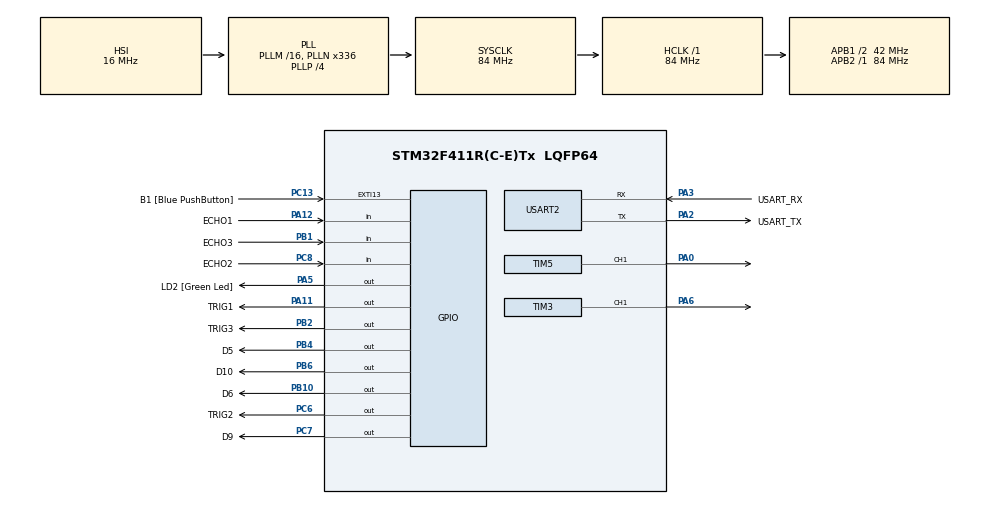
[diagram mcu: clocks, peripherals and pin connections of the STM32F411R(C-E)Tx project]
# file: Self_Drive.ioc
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Mcu.Family=STM32F4
Mcu.Name=STM32F411R(C-E)Tx
Mcu.Package=LQFP64
NVIC.PriorityGroup=NVIC_PRIORITYGROUP_0
PA0-WKUP.Signal=S_TIM5_CH1
PA11.GPIO_Label=TRIG1
PA11.Signal=GPIO_Output
PA12.GPIO_Label=ECHO1
PA12.Signal=GPIO_Input
PA13.GPIO_Label=TMS
PA13.Mode=Serial_Wire
PA13.Signal=SYS_JTMS-SWDIO
PA14.GPIO_Label=TCK
PA14.Mode=Serial_Wire
PA14.Signal=SYS_JTCK-SWCLK
PA2.GPIO_Label=USART_TX
PA2.Mode=Asynchronous
PA2.Signal=USART2_TX
PA3.GPIO_Label=USART_RX
PA3.Mode=Asynchronous
PA3.Signal=USART2_RX
PA5.GPIO_Label=LD2 [Green Led]
PA5.Signal=GPIO_Output
PA6.Signal=S_TIM3_CH1
PB1.GPIO_Label=ECHO3
PB1.Signal=GPIO_Input
PB10.GPIO_Label=D6
PB10.Signal=GPIO_Output
PB2.GPIO_Label=TRIG3
PB2.Signal=GPIO_Output
PB3.GPIO_Label=SWO
PB3.Signal=SYS_JTDO-SWO
PB4.GPIO_Label=D5
PB4.Signal=GPIO_Output
PB6.GPIO_Label=D10
PB6.Signal=GPIO_Output
PC13-ANTI_TAMP.GPIO_Label=B1 [Blue PushButton]
PC13-ANTI_TAMP.GPIO_ModeDefaultEXTI=GPIO_MODE_IT_FALLING
PC13-ANTI_TAMP.Signal=GPXTI13
PC14-OSC32_IN.Mode=LSE-External-Oscillator
PC14-OSC32_IN.Signal=RCC_OSC32_IN
PC15-OSC32_OUT.Mode=LSE-External-Oscillator
PC15-OSC32_OUT.Signal=RCC_OSC32_OUT
PC6.GPIO_Label=TRIG2
PC6.Signal=GPIO_Output
PC7.GPIO_Label=D9
PC7.Signal=GPIO_Output
PC8.GPIO_Label=ECHO2
PC8.Signal=GPIO_Input
PH0\ -\ OSC_IN.Mode=HSE-External-Clock-Source
PH0\ -\ OSC_IN.Signal=RCC_OSC_IN
PH1\ -\ OSC_OUT.Mode=HSE-External-Clock-Source
PH1\ -\ OSC_OUT.Signal=RCC_OSC_OUT
ProjectManager.HeapSize=0x200
ProjectManager.StackSize=0x400
ProjectManager.TargetToolchain=STM32CubeIDE
RCC.48MHZClocksFreq_Value=84000000
RCC.AHBFreq_Value=84000000
RCC.APB1CLKDivider=RCC_HCLK_DIV2
RCC.APB1Freq_Value=42000000
RCC.APB1TimFreq_Value=84000000
RCC.APB2Freq_Value=84000000
RCC.APB2TimFreq_Value=84000000
RCC.CortexFreq_Value=84000000
RCC.FLatency-AdvancedSettings=FLASH_LATENCY_2
RCC.HCLKFreq_Value=84000000
RCC.HSE_VALUE=8000000
RCC.HSI_VALUE=16000000
RCC.PLLN=336
RCC.PLLP=RCC_PLLP_DIV4
RCC.SYSCLKFreq_VALUE=84000000
RCC.SYSCLKSource=RCC_SYSCLKSOURCE_PLLCLK
RCC.VCOOutputFreq_Value=336000000
SH.S_TIM3_CH1.0=TIM3_CH1,PWM Generation1 CH1
SH.S_TIM5_CH1.0=TIM5_CH1,PWM Generation1 CH1
TIM2.Period=80000-1
TIM2.Prescaler=84-1
TIM3.Channel-PWM\ Generation1\ CH1=TIM_CHANNEL_1
TIM3.Period=65535-1
TIM3.Prescaler=84-1
TIM5.Channel-PWM\ Generation1\ CH1=TIM_CHANNEL_1
TIM5.Period=65535-1
TIM5.Prescaler=84-1
USART2.VirtualMode=VM_ASYNC
VP_TIM2_VS_ClockSourceINT.Mode=Internal
VP_TIM3_VS_ClockSourceINT.Mode=Internal
VP_TIM5_VS_ClockSourceINT.Mode=Internal
board=NUCLEO-F411RE

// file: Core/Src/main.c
/* USER CODE BEGIN Header */
/**
  ******************************************************************************
  * @file           : main.c
  * @brief          : Main program body
  ******************************************************************************
  * @attention
  *
  * Copyright (c) 2024 STMicroelectronics.
  * All rights reserved.
  *
  * This software is licensed under terms that can be found in the LICENSE file
  * in the root directory of this software component.
  * If no LICENSE file comes with this software, it is provided AS-IS.
  *
  ******************************************************************************
  */
/* USER CODE END Header */
#include "main.h"

/* USER CODE BEGIN Includes */
#include "/Users/parkjunho/GitClone/Harman/ARM Architecture/Common/myLib.h"
/* USER CODE END Includes */

TIM_HandleTypeDef htim2;
TIM_HandleTypeDef htim3;
TIM_HandleTypeDef htim5;

UART_HandleTypeDef huart2;

void SystemClock_Config(void);
static void MX_GPIO_Init(void);
static void MX_USART2_UART_Init(void);
static void MX_TIM3_Init(void);
static void MX_TIM5_Init(void);
static void MX_TIM2_Init(void);

int main(void)
{

  /* MCU Configuration--------------------------------------------------------*/

  /* Reset of all peripherals, Initializes the Flash interface and the Systick. */
  HAL_Init();

  /* Configure the system clock */
  SystemClock_Config();

  /* Initialize all configured peripherals */
  MX_GPIO_Init();
  MX_USART2_UART_Init();
  MX_TIM3_Init();
  MX_TIM5_Init();
  MX_TIM2_Init();
  /* USER CODE BEGIN 2 */
  ProgramStart();
  HAL_TIM_Base_Start(&htim2);
  HAL_TIM_PWM_Start(&htim3, TIM_CHANNEL_1);
  HAL_TIM_PWM_Start(&htim5, TIM_CHANNEL_1);

  /* USER CODE END 2 */

  /* Infinite loop */
  /* USER CODE BEGIN WHILE */
  // forward
  HAL_GPIO_WritePin(D5_GPIO_Port, D5_Pin, 0);
  HAL_GPIO_WritePin(D6_GPIO_Port, D6_Pin, 1);
  HAL_GPIO_WritePin(D9_GPIO_Port, D9_Pin, 0);
  HAL_GPIO_WritePin(D10_GPIO_Port, D10_Pin, 1);

  // backward
  /*
  HAL_GPIO_WritePin(D5_GPIO_Port, D5_Pin, 1);
  HAL_GPIO_WritePin(D6_GPIO_Port, D6_Pin, 0);
  HAL_GPIO_WritePin(D9_GPIO_Port, D9_Pin, 1);
  HAL_GPIO_WritePin(D10_GPIO_Port, D10_Pin, 0);
   */
  int MaxSpeed = 15000;
  int current_speed = 0;
  while (1)
  {

     int num1 = usDist1() * 100;
     HAL_Delay(3);
     int num2 = usDist2() * 100;
     HAL_Delay(3);
     int num3 = usDist3() * 100;

     // printf("num1 = %d    num2 = %d      num3 = %d\r\n", num1, num2, num3);
     printf("num1 = %d\r\n", num1);

     htim5.Instance->CCR1 = MaxSpeed;
     htim3.Instance->CCR1 = MaxSpeed;

    /* USER CODE END WHILE */

    /* USER CODE BEGIN 3 */

    current_speed = MaxSpeed;

    if(num1 >= 15)
    {
      HAL_GPIO_WritePin(D5_GPIO_Port, D5_Pin, 0);
      HAL_GPIO_WritePin(D6_GPIO_Port, D6_Pin, 1);
      HAL_GPIO_WritePin(D9_GPIO_Port, D9_Pin, 0);
      HAL_GPIO_WritePin(D10_GPIO_Port, D10_Pin, 1);

      TIM3->CCR1 = MaxSpeed;
      TIM5->CCR1 = MaxSpeed;

      if(num2 > 15 && num3 > 15) // go forward
      {
        TIM3->CCR1 = MaxSpeed;
        TIM5->CCR1 = MaxSpeed;
      }

      else if((num3 > 15 && num2 <= 15)) // cornering
      {
        TIM3->CCR1 = 0;
        TIM5->CCR1 = current_speed;
      }
      else if((num2 > 15 && num3 <= 15)) // cornering
      {
        TIM3->CCR1 = current_speed;
        TIM5->CCR1 = 0;
      }
    }
    else
    {
      HAL_GPIO_WritePin(D5_GPIO_Port, D5_Pin, 1);
      HAL_GPIO_WritePin(D6_GPIO_Port, D6_Pin, 0);
      HAL_GPIO_WritePin(D9_GPIO_Port, D9_Pin, 1);
      HAL_GPIO_WritePin(D10_GPIO_Port, D10_Pin, 0);
      TIM3->CCR1 = MaxSpeed;
      TIM5->CCR1 = MaxSpeed;
    }

       /*
       while(num2 > 20 || num3 > 20)
       {

        HAL_GPIO_WritePin(D5_GPIO_Port, D5_Pin, 1);
        HAL_GPIO_WritePin(D6_GPIO_Port, D6_Pin, 0);
        HAL_GPIO_WritePin(D9_GPIO_Port, D9_Pin, 1);
        HAL_GPIO_WritePin(D10_GPIO_Port, D10_Pin, 0);
        TIM3->CCR1 = 500;
        TIM1->CCR1 = 500;

        if(num2 > 20 && num3 > 20) // go forward
       {
           HAL_GPIO_WritePin(D5_GPIO_Port, D5_Pin, 0);
           HAL_GPIO_WritePin(D6_GPIO_Port, D6_Pin, 1);
           HAL_GPIO_WritePin(D9_GPIO_Port, D9_Pin, 0);
           HAL_GPIO_WritePin(D10_GPIO_Port, D10_Pin, 1);
          TIM1->CCR1 = MaxSpeed;
          TIM3->CCR1 = MaxSpeed;
       }

       else if(num3 > 20 && num2 <= 20) // cornering
       {
          HAL_GPIO_WritePin(D5_GPIO_Port, D5_Pin, 0);
          HAL_GPIO_WritePin(D6_GPIO_Port, D6_Pin, 1);
          HAL_GPIO_WritePin(D9_GPIO_Port, D9_Pin, 0);
          HAL_GPIO_WritePin(D10_GPIO_Port, D10_Pin, 1);
          TIM3->CCR1 = 0;
          TIM1->CCR1 = current_speed;
       }
       else if(num2 > 20 && num3 <= 20) // cornering
       {
          HAL_GPIO_WritePin(D5_GPIO_Port, D5_Pin, 0);
          HAL_GPIO_WritePin(D6_GPIO_Port, D6_Pin, 1);
          HAL_GPIO_WritePin(D9_GPIO_Port, D9_Pin, 0);
          HAL_GPIO_WritePin(D10_GPIO_Port, D10_Pin, 1);
          TIM3->CCR1 = current_speed;
          TIM1->CCR1 = 0;
       }
       }
    }
*/

   // printf("Compare (TIM1): %4d | TEMP: %5d\r\n ", (int)TIM1->CCR1, temp_speed);
    //printf("Compare (TIM3): %4d | TEMP: %5d\r\n ", (int)TIM3->CCR1, temp_speed);

    // 일정 시간 동안 루프를 지연시킴

  }
  /* USER CODE END 3 */
}

void SystemClock_Config(void)
{
  RCC_OscInitTypeDef RCC_OscInitStruct = {0};
  RCC_ClkInitTypeDef RCC_ClkInitStruct = {0};

  /** Configure the main internal regulator output voltage
  */
  __HAL_RCC_PWR_CLK_ENABLE();
  __HAL_PWR_VOLTAGESCALING_CONFIG(PWR_REGULATOR_VOLTAGE_SCALE1);

  /** Initializes the RCC Oscillators according to the specified parameters
  * in the RCC_OscInitTypeDef structure.
  */
  RCC_OscInitStruct.OscillatorType = RCC_OSCILLATORTYPE_HSI;
  RCC_OscInitStruct.HSIState = RCC_HSI_ON;
  RCC_OscInitStruct.HSICalibrationValue = RCC_HSICALIBRATION_DEFAULT;
  RCC_OscInitStruct.PLL.PLLState = RCC_PLL_ON;
  RCC_OscInitStruct.PLL.PLLSource = RCC_PLLSOURCE_HSI;
  RCC_OscInitStruct.PLL.PLLM = 16;
  RCC_OscInitStruct.PLL.PLLN = 336;
  RCC_OscInitStruct.PLL.PLLP = RCC_PLLP_DIV4;
  RCC_OscInitStruct.PLL.PLLQ = 4;
  if (HAL_RCC_OscConfig(&RCC_OscInitStruct) != HAL_OK)
  {
    Error_Handler();
  }

  /** Initializes the CPU, AHB and APB buses clocks
  */
  RCC_ClkInitStruct.ClockType = RCC_CLOCKTYPE_HCLK|RCC_CLOCKTYPE_SYSCLK
                              |RCC_CLOCKTYPE_PCLK1|RCC_CLOCKTYPE_PCLK2;
  RCC_ClkInitStruct.SYSCLKSource = RCC_SYSCLKSOURCE_PLLCLK;
  RCC_ClkInitStruct.AHBCLKDivider = RCC_SYSCLK_DIV1;
  RCC_ClkInitStruct.APB1CLKDivider = RCC_HCLK_DIV2;
  RCC_ClkInitStruct.APB2CLKDivider = RCC_HCLK_DIV1;

  if (HAL_RCC_ClockConfig(&RCC_ClkInitStruct, FLASH_LATENCY_2) != HAL_OK)
  {
    Error_Handler();
  }
}

static void MX_TIM2_Init(void)
{

  TIM_ClockConfigTypeDef sClockSourceConfig = {0};
  TIM_MasterConfigTypeDef sMasterConfig = {0};

  htim2.Instance = TIM2;
  htim2.Init.Prescaler = 84-1;
  htim2.Init.CounterMode = TIM_COUNTERMODE_UP;
  htim2.Init.Period = 80000-1;
  htim2.Init.ClockDivision = TIM_CLOCKDIVISION_DIV1;
  htim2.Init.AutoReloadPreload = TIM_AUTORELOAD_PRELOAD_DISABLE;
  if (HAL_TIM_Base_Init(&htim2) != HAL_OK)
  {
    Error_Handler();
  }
  sClockSourceConfig.ClockSource = TIM_CLOCKSOURCE_INTERNAL;
  if (HAL_TIM_ConfigClockSource(&htim2, &sClockSourceConfig) != HAL_OK)
  {
    Error_Handler();
  }
  sMasterConfig.MasterOutputTrigger = TIM_TRGO_RESET;
  sMasterConfig.MasterSlaveMode = TIM_MASTERSLAVEMODE_DISABLE;
  if (HAL_TIMEx_MasterConfigSynchronization(&htim2, &sMasterConfig) != HAL_OK)
  {
    Error_Handler();
  }

}

static void MX_TIM3_Init(void)
{

  TIM_ClockConfigTypeDef sClockSourceConfig = {0};
  TIM_MasterConfigTypeDef sMasterConfig = {0};
  TIM_OC_InitTypeDef sConfigOC = {0};

  htim3.Instance = TIM3;
  htim3.Init.Prescaler = 84-1;
  htim3.Init.CounterMode = TIM_COUNTERMODE_UP;
  htim3.Init.Period = 65535-1;
  htim3.Init.ClockDivision = TIM_CLOCKDIVISION_DIV1;
  htim3.Init.AutoReloadPreload = TIM_AUTORELOAD_PRELOAD_DISABLE;
  if (HAL_TIM_Base_Init(&htim3) != HAL_OK)
  {
    Error_Handler();
  }
  sClockSourceConfig.ClockSource = TIM_CLOCKSOURCE_INTERNAL;
  if (HAL_TIM_ConfigClockSource(&htim3, &sClockSourceConfig) != HAL_OK)
  {
    Error_Handler();
  }
  if (HAL_TIM_PWM_Init(&htim3) != HAL_OK)
  {
    Error_Handler();
  }
  sMasterConfig.MasterOutputTrigger = TIM_TRGO_RESET;
  sMasterConfig.MasterSlaveMode = TIM_MASTERSLAVEMODE_DISABLE;
  if (HAL_TIMEx_MasterConfigSynchronization(&htim3, &sMasterConfig) != HAL_OK)
  {
    Error_Handler();
  }
  sConfigOC.OCMode = TIM_OCMODE_PWM1;
  sConfigOC.Pulse = 0;
  sConfigOC.OCPolarity = TIM_OCPOLARITY_HIGH;
  sConfigOC.OCFastMode = TIM_OCFAST_DISABLE;
  if (HAL_TIM_PWM_ConfigChannel(&htim3, &sConfigOC, TIM_CHANNEL_1) != HAL_OK)
  {
    Error_Handler();
  }
  HAL_TIM_MspPostInit(&htim3);

}

static void MX_TIM5_Init(void)
{

  TIM_ClockConfigTypeDef sClockSourceConfig = {0};
  TIM_MasterConfigTypeDef sMasterConfig = {0};
  TIM_OC_InitTypeDef sConfigOC = {0};

  htim5.Instance = TIM5;
  htim5.Init.Prescaler = 84-1;
  htim5.Init.CounterMode = TIM_COUNTERMODE_UP;
  htim5.Init.Period = 65535-1;
  htim5.Init.ClockDivision = TIM_CLOCKDIVISION_DIV1;
  htim5.Init.AutoReloadPreload = TIM_AUTORELOAD_PRELOAD_DISABLE;
  if (HAL_TIM_Base_Init(&htim5) != HAL_OK)
  {
    Error_Handler();
  }
  sClockSourceConfig.ClockSource = TIM_CLOCKSOURCE_INTERNAL;
  if (HAL_TIM_ConfigClockSource(&htim5, &sClockSourceConfig) != HAL_OK)
  {
    Error_Handler();
  }
  if (HAL_TIM_PWM_Init(&htim5) != HAL_OK)
  {
    Error_Handler();
  }
  sMasterConfig.MasterOutputTrigger = TIM_TRGO_RESET;
  sMasterConfig.MasterSlaveMode = TIM_MASTERSLAVEMODE_DISABLE;
  if (HAL_TIMEx_MasterConfigSynchronization(&htim5, &sMasterConfig) != HAL_OK)
  {
    Error_Handler();
  }
  sConfigOC.OCMode = TIM_OCMODE_PWM1;
  sConfigOC.Pulse = 0;
  sConfigOC.OCPolarity = TIM_OCPOLARITY_HIGH;
  sConfigOC.OCFastMode = TIM_OCFAST_DISABLE;
  if (HAL_TIM_PWM_ConfigChannel(&htim5, &sConfigOC, TIM_CHANNEL_1) != HAL_OK)
  {
    Error_Handler();
  }
  HAL_TIM_MspPostInit(&htim5);

}

static void MX_USART2_UART_Init(void)
{

  huart2.Instance = USART2;
  huart2.Init.BaudRate = 115200;
  huart2.Init.WordLength = UART_WORDLENGTH_8B;
  huart2.Init.StopBits = UART_STOPBITS_1;
  huart2.Init.Parity = UART_PARITY_NONE;
  huart2.Init.Mode = UART_MODE_TX_RX;
  huart2.Init.HwFlowCtl = UART_HWCONTROL_NONE;
  huart2.Init.OverSampling = UART_OVERSAMPLING_16;
  if (HAL_UART_Init(&huart2) != HAL_OK)
  {
    Error_Handler();
  }

}

static void MX_GPIO_Init(void)
{
  GPIO_InitTypeDef GPIO_InitStruct = {0};

  /* GPIO Ports Clock Enable */
  __HAL_RCC_GPIOC_CLK_ENABLE();
  __HAL_RCC_GPIOH_CLK_ENABLE();
  __HAL_RCC_GPIOA_CLK_ENABLE();
  __HAL_RCC_GPIOB_CLK_ENABLE();

  /*Configure GPIO pin Output Level */
  HAL_GPIO_WritePin(GPIOA, LD2_Pin|TRIG1_Pin, GPIO_PIN_RESET);

  /*Configure GPIO pin Output Level */
  HAL_GPIO_WritePin(GPIOB, TRIG3_Pin|D6_Pin|D5_Pin|D10_Pin, GPIO_PIN_RESET);

  /*Configure GPIO pin Output Level */
  HAL_GPIO_WritePin(GPIOC, TRIG2_Pin|D9_Pin, GPIO_PIN_RESET);

  /*Configure GPIO pin : B1_Pin */
  GPIO_InitStruct.Pin = B1_Pin;
  GPIO_InitStruct.Mode = GPIO_MODE_IT_FALLING;
  GPIO_InitStruct.Pull = GPIO_NOPULL;
  HAL_GPIO_Init(B1_GPIO_Port, &GPIO_InitStruct);

  /*Configure GPIO pins : LD2_Pin TRIG1_Pin */
  GPIO_InitStruct.Pin = LD2_Pin|TRIG1_Pin;
  GPIO_InitStruct.Mode = GPIO_MODE_OUTPUT_PP;
  GPIO_InitStruct.Pull = GPIO_NOPULL;
  GPIO_InitStruct.Speed = GPIO_SPEED_FREQ_LOW;
  HAL_GPIO_Init(GPIOA, &GPIO_InitStruct);

  /*Configure GPIO pin : ECHO3_Pin */
  GPIO_InitStruct.Pin = ECHO3_Pin;
  GPIO_InitStruct.Mode = GPIO_MODE_INPUT;
  GPIO_InitStruct.Pull = GPIO_NOPULL;
  HAL_GPIO_Init(ECHO3_GPIO_Port, &GPIO_InitStruct);

  /*Configure GPIO pins : TRIG3_Pin D6_Pin D5_Pin D10_Pin */
  GPIO_InitStruct.Pin = TRIG3_Pin|D6_Pin|D5_Pin|D10_Pin;
  GPIO_InitStruct.Mode = GPIO_MODE_OUTPUT_PP;
  GPIO_InitStruct.Pull = GPIO_NOPULL;
  GPIO_InitStruct.Speed = GPIO_SPEED_FREQ_LOW;
  HAL_GPIO_Init(GPIOB, &GPIO_InitStruct);

  /*Configure GPIO pins : TRIG2_Pin D9_Pin */
  GPIO_InitStruct.Pin = TRIG2_Pin|D9_Pin;
  GPIO_InitStruct.Mode = GPIO_MODE_OUTPUT_PP;
  GPIO_InitStruct.Pull = GPIO_NOPULL;
  GPIO_InitStruct.Speed = GPIO_SPEED_FREQ_LOW;
  HAL_GPIO_Init(GPIOC, &GPIO_InitStruct);

  /*Configure GPIO pin : ECHO2_Pin */
  GPIO_InitStruct.Pin = ECHO2_Pin;
  GPIO_InitStruct.Mode = GPIO_MODE_INPUT;
  GPIO_InitStruct.Pull = GPIO_NOPULL;
  HAL_GPIO_Init(ECHO2_GPIO_Port, &GPIO_InitStruct);

  /*Configure GPIO pin : ECHO1_Pin */
  GPIO_InitStruct.Pin = ECHO1_Pin;
  GPIO_InitStruct.Mode = GPIO_MODE_INPUT;
  GPIO_InitStruct.Pull = GPIO_NOPULL;
  HAL_GPIO_Init(ECHO1_GPIO_Port, &GPIO_InitStruct);

}

void Error_Handler(void)
{
  __disable_irq();
  while (1)
  {
  }
}
